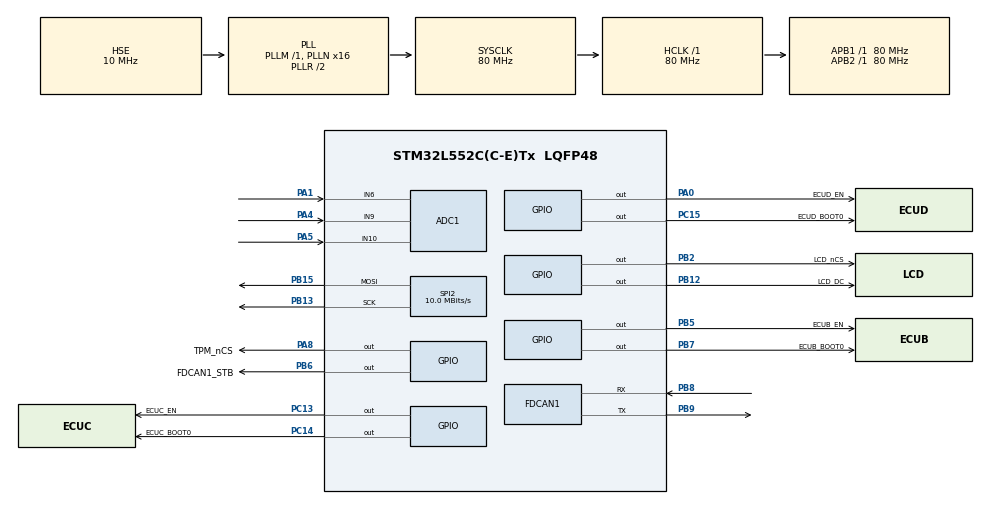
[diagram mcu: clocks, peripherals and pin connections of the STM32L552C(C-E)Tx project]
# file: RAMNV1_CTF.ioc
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ADC1.Channel-0\#ChannelRegularConversion=ADC_CHANNEL_6
ADC1.Channel-1\#ChannelRegularConversion=ADC_CHANNEL_9
ADC1.Channel-2\#ChannelRegularConversion=ADC_CHANNEL_10
ADC1.ClockPrescaler=ADC_CLOCK_ASYNC_DIV256
ADC1.ContinuousConvMode=ENABLE
ADC1.DMAContinuousRequests=ENABLE
ADC1.NbrOfConversion=3
ADC1.NbrOfConversionFlag=1
ADC1.OffsetNumber-0\#ChannelRegularConversion=ADC_OFFSET_NONE
ADC1.OffsetNumber-1\#ChannelRegularConversion=ADC_OFFSET_NONE
ADC1.OffsetNumber-2\#ChannelRegularConversion=ADC_OFFSET_NONE
ADC1.Overrun=ADC_OVR_DATA_OVERWRITTEN
ADC1.Rank-0\#ChannelRegularConversion=1
ADC1.Rank-1\#ChannelRegularConversion=2
ADC1.Rank-2\#ChannelRegularConversion=3
ADC1.SamplingTime-0\#ChannelRegularConversion=ADC_SAMPLETIME_2CYCLES_5
ADC1.SamplingTime-1\#ChannelRegularConversion=ADC_SAMPLETIME_2CYCLES_5
ADC1.SamplingTime-2\#ChannelRegularConversion=ADC_SAMPLETIME_2CYCLES_5
ADC1.master=1
Dma.ADC1.1.Channel_PRIV_NPRIV=DMA_CHANNEL_NPRIV_DISABLE
Dma.ADC1.1.Direction=DMA_PERIPH_TO_MEMORY
Dma.ADC1.1.EventEnable=DISABLE
Dma.ADC1.1.Instance=DMA2_Channel1
Dma.ADC1.1.MemDataAlignment=DMA_MDATAALIGN_HALFWORD
Dma.ADC1.1.MemInc=DMA_MINC_ENABLE
Dma.ADC1.1.Mode=DMA_CIRCULAR
Dma.ADC1.1.PeriphDataAlignment=DMA_PDATAALIGN_HALFWORD
Dma.ADC1.1.PeriphInc=DMA_PINC_DISABLE
Dma.ADC1.1.Polarity=HAL_DMAMUX_REQ_GEN_RISING
Dma.ADC1.1.Priority=DMA_PRIORITY_LOW
Dma.ADC1.1.RequestNumber=1
Dma.ADC1.1.SignalID=NONE
Dma.ADC1.1.SyncEnable=DISABLE
Dma.ADC1.1.SyncPolarity=HAL_DMAMUX_SYNC_NO_EVENT
Dma.ADC1.1.SyncRequestNumber=1
Dma.ADC1.1.SyncSignalID=NONE
Dma.Request0=SPI2_TX
Dma.Request1=ADC1
Dma.SPI2_TX.0.Channel_PRIV_NPRIV=DMA_CHANNEL_NPRIV_DISABLE
Dma.SPI2_TX.0.Direction=DMA_MEMORY_TO_PERIPH
Dma.SPI2_TX.0.EventEnable=DISABLE
Dma.SPI2_TX.0.Instance=DMA1_Channel1
Dma.SPI2_TX.0.MemDataAlignment=DMA_MDATAALIGN_BYTE
Dma.SPI2_TX.0.MemInc=DMA_MINC_ENABLE
Dma.SPI2_TX.0.Mode=DMA_NORMAL
Dma.SPI2_TX.0.PeriphDataAlignment=DMA_PDATAALIGN_BYTE
Dma.SPI2_TX.0.PeriphInc=DMA_PINC_DISABLE
Dma.SPI2_TX.0.Polarity=HAL_DMAMUX_REQ_GEN_RISING
Dma.SPI2_TX.0.Priority=DMA_PRIORITY_LOW
Dma.SPI2_TX.0.RequestNumber=1
Dma.SPI2_TX.0.SignalID=NONE
Dma.SPI2_TX.0.SyncEnable=DISABLE
Dma.SPI2_TX.0.SyncPolarity=HAL_DMAMUX_SYNC_NO_EVENT
Dma.SPI2_TX.0.SyncRequestNumber=1
Dma.SPI2_TX.0.SyncSignalID=NONE
FDCAN1.AutoRetransmission=ENABLE
FDCAN1.CalculateBaudRateNominal=500000
FDCAN1.CalculateTimeBitNominal=2000
FDCAN1.CalculateTimeQuantumNominal=25.0
FDCAN1.ClockDivider=FDCAN_CLOCK_DIV1
FDCAN1.DataPrescaler=1
FDCAN1.DataSyncJumpWidth=1
FDCAN1.DataTimeSeg1=15
FDCAN1.DataTimeSeg2=2
FDCAN1.ExtFiltersNbr=1
FDCAN1.FrameFormat=FDCAN_FRAME_FD_BRS
FDCAN1.NominalPrescaler=1
FDCAN1.NominalSyncJumpWidth=1
FDCAN1.NominalTimeSeg1=60
FDCAN1.NominalTimeSeg2=19
FDCAN1.StdFiltersNbr=1
FDCAN1.TxFifoQueueMode=FDCAN_TX_FIFO_OPERATION
FREERTOS.Tasks01=RAMN_ReceiveCAN,24,128,RAMN_ReceiveCANFunc,Default,NULL,Static,RAMN_ReceiveCANFuncBuffer,RAMN_ReceiveCANFuncControlBlock;RAMN_SendCAN,40,128,RAMN_SendCANFunc,Default,NULL,Static,RAMN_SendCANBuffer,RAMN_SendCANControlBlock;RAMN_Periodic,32,128,RAMN_PeriodicTaskFunc,Default,NULL,Static,RAMN_PeriodicBuffer,RAMN_PeriodicControlBlock;RAMN_ErrorTask,49,128,RAMN_ErrorTaskFunc,Default,NULL,Static,RAMN_ErrorTaskBuffer,RAMN_ErrorTaskControlBlock;RAMN_DiagRX,16,128,RAMN_DiagRXFunc,Default,NULL,Static,RAMN_DiagRXBuffer,RAMN_DiagRXControlBlock;RAMN_DiagTX,15,128,RAMN_DiagTXFunc,Default,NULL,Static,RAMN_DiagTXBuffer,RAMN_DiagTXControlBlock
FREERTOS.configCHECK_FOR_STACK_OVERFLOW=2
FREERTOS.configENABLE_FPU=1
FREERTOS.configGENERATE_RUN_TIME_STATS=0
FREERTOS.configMINIMAL_STACK_SIZE=128
FREERTOS.configRECORD_STACK_HIGH_ADDRESS=0
FREERTOS.configTOTAL_HEAP_SIZE=1024
FREERTOS.configUSE_NEWLIB_REENTRANT=1
FREERTOS.configUSE_STATS_FORMATTING_FUNCTIONS=0
FREERTOS.configUSE_TRACE_FACILITY=1
IWDG.Prescaler=IWDG_PRESCALER_32
IWDG.Reload=1000
IWDG.Window=4095
Mcu.Family=STM32L5
Mcu.Name=STM32L552C(C-E)Tx
Mcu.Package=LQFP48
NVIC.DMA1_Channel1_IRQn=true\:5\:0\:false\:false\:true\:true\:false\:true\:true
NVIC.DMA2_Channel1_IRQn=true\:5\:0\:false\:false\:true\:false\:false\:true\:true
NVIC.FDCAN1_IT0_IRQn=true\:5\:0\:false\:false\:true\:true\:true\:true\:true
NVIC.FDCAN1_IT1_IRQn=true\:5\:0\:false\:false\:true\:true\:true\:true\:true
NVIC.PriorityGroup=NVIC_PRIORITYGROUP_3
NVIC.RNG_IRQn=true\:5\:0\:false\:false\:true\:true\:true\:true\:true
NVIC.SPI2_IRQn=true\:5\:0\:false\:false\:true\:true\:true\:true\:true
NVIC.TIM1_UP_IRQn=true\:0\:0\:false\:false\:true\:false\:false\:true\:true
NVIC.TimeBase=TIM1_UP_IRQn
NVIC.TimeBaseIP=TIM1
PA0.GPIO_Label=ECUD_EN
PA0.Signal=GPIO_Output
PA1.Signal=ADCx_IN6
PA11.Signal=USB_DM
PA4.Signal=ADCx_IN9
PA5.Signal=ADCx_IN10
PA8.GPIO_Label=TPM_nCS
PA8.Signal=GPIO_Output
PB12.GPIO_Label=LCD_DC
PB12.Signal=GPIO_Output
PB13.Mode=TX_Only_Simplex_Unidirect_Master
PB13.Signal=SPI2_SCK
PB14.Signal=SPI2_MISO
PB15.Mode=TX_Only_Simplex_Unidirect_Master
PB15.Signal=SPI2_MOSI
PB2.GPIO_Label=LCD_nCS
PB2.Signal=GPIO_Output
PB5.GPIO_Label=ECUB_EN
PB5.Signal=GPIO_Output
PB6.GPIO_Label=FDCAN1_STB
PB6.Signal=GPIO_Output
PB7.GPIO_Label=ECUB_BOOT0
PB7.Signal=GPIO_Output
PB8.Mode=FDCAN_Activate
PB8.Signal=FDCAN1_RX
PB9.Mode=FDCAN_Activate
PB9.Signal=FDCAN1_TX
PC13.GPIO_Label=ECUC_EN
PC13.Signal=GPIO_Output
PC14-OSC32_IN\ (PC14).GPIO_Label=ECUC_BOOT0
PC14-OSC32_IN\ (PC14).Signal=GPIO_Output
PC15-OSC32_OUT\ (PC15).GPIO_Label=ECUD_BOOT0
PC15-OSC32_OUT\ (PC15).Signal=GPIO_Output
PH0-OSC_IN\ (PH0).Mode=HSE-External-Oscillator
PH0-OSC_IN\ (PH0).Signal=RCC_OSC_IN
PH1-OSC_OUT\ (PH1).Mode=HSE-External-Oscillator
PH1-OSC_OUT\ (PH1).Signal=RCC_OSC_OUT
ProjectManager.HeapSize=0x2000
ProjectManager.StackSize=0x4000
ProjectManager.TargetToolchain=STM32CubeIDE
RCC.ADCFreq_Value=35000000
RCC.AHBFreq_Value=80000000
RCC.APB1Freq_Value=80000000
RCC.APB1TimFreq_Value=80000000
RCC.APB2Freq_Value=80000000
RCC.APB2TimFreq_Value=80000000
RCC.CK48CLockSelection=RCC_USBCLKSOURCE_HSI48
RCC.CortexFreq_Value=80000000
RCC.FDCANClockSelection=RCC_FDCANCLKSOURCE_PLLSAI1
RCC.HCLKFreq_Value=80000000
RCC.HSE_VALUE=10000000
RCC.HSI48_VALUE=48000000
RCC.HSICalibrationValue=64
RCC.HSI_VALUE=16000000
RCC.LSE_VALUE=32768
RCC.MSICalibrationValue=16
RCC.MSI_VALUE=4000000
RCC.PLLN=16
RCC.PLLQ=RCC_PLLQ_DIV8
RCC.PLLSAI1M=2
RCC.PLLSAI1N=56
RCC.PLLSAI1R=RCC_PLLR_DIV8
RCC.PLLSAI1Source=RCC_PLLSAI1SOURCE_HSE
RCC.PLLSourceVirtual=RCC_PLLSOURCE_HSE
RCC.SYSCLKFreq_VALUE=80000000
RCC.SYSCLKSource=RCC_SYSCLKSOURCE_PLLCLK
RCC.USBFreq_Value=48000000
RCC.VCOOutputFreq_Value=160000000
SH.ADCx_IN10.0=ADC1_IN10,IN10-Single-Ended
SH.ADCx_IN6.0=ADC1_IN6,IN6-Single-Ended
SH.ADCx_IN9.0=ADC1_IN9,IN9-Single-Ended
SPI2.BaudRatePrescaler=SPI_BAUDRATEPRESCALER_8
SPI2.CalculateBaudRate=10.0 MBits/s
SPI2.DataSize=SPI_DATASIZE_8BIT
SPI2.Direction=SPI_DIRECTION_2LINES
SPI2.Mode=SPI_MODE_MASTER
SPI2.VirtualType=VM_MASTER
VP_CRC_VS_CRC.Mode=CRC_Activate
VP_FREERTOS_VS_CMSIS_V2.Mode=CMSIS_V2
VP_ICACHE_VS_ICACHE.Mode=DirectMappedCache
VP_IWDG_VS_IWDG.Mode=IWDG_Activate
VP_PWR_VS_DBSignals.Mode=DisableDeadBatterySignals
VP_PWR_VS_SECSignals.Mode=Security/Privilege
VP_RNG_VS_RNG.Mode=RNG_Activate
VP_SYS_VS_tim1.Mode=TIM1
board=custom

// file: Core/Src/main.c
/* USER CODE BEGIN Header */
/**
 ******************************************************************************
 * @file           : main.c
 * @brief          : Main program body
 ******************************************************************************
 * @attention
 *
 * <h2><center>&copy; Copyright (c) 2021 STMicroelectronics.
 * All rights reserved.</center></h2>
 * <h2><center>&copy; Copyright (c) 2022 TOYOTA MOTOR CORPORATION.
 * ALL RIGHTS RESERVED.</center></h2>
 *
 *
 * This software component is licensed by ST under BSD 3-Clause license,
 * the "License"; You may not use this file except in compliance with the
 * License. You may obtain a copy of the License at:
 *                        opensource.org/licenses/BSD-3-Clause
 *
 ******************************************************************************
 */
/* USER CODE END Header */
#include "main.h"
#include "cmsis_os.h"

/* USER CODE BEGIN Includes */
#include "queue.h"
#include "stm32l5xx_hal_rng.h" // contains RNG peripheral error codes
#include "ramn_debug.h"
#include "ramn_usb.h"
#include "ramn_spi.h"
#include "ramn_canfd.h"
#include "ramn_trng.h"
#include "ramn_ecucontrol.h"
#include "ramn_dbc.h"
#include "ramn_simulator.h"
#include "ramn_sensors.h"
#include "ramn_actuators.h"
#include "ramn_crc.h"
#if defined(ENABLE_DIAG)
#include "ramn_diag.h"
#endif
/* USER CODE END Includes */

typedef StaticTask_t osStaticThreadDef_t;

ADC_HandleTypeDef hadc1;
DMA_HandleTypeDef hdma_adc1;

CRC_HandleTypeDef hcrc;

FDCAN_HandleTypeDef hfdcan1;

IWDG_HandleTypeDef hiwdg;

RNG_HandleTypeDef hrng;

SPI_HandleTypeDef hspi2;
DMA_HandleTypeDef hdma_spi2_tx;

/* Definitions for RAMN_ReceiveCAN */
osThreadId_t RAMN_ReceiveCANHandle;
uint32_t RAMN_ReceiveCANFuncBuffer[ 128 ];
osStaticThreadDef_t RAMN_ReceiveCANFuncControlBlock;
const osThreadAttr_t RAMN_ReceiveCAN_attributes = {
  .name = "RAMN_ReceiveCAN",
  .stack_mem = &RAMN_ReceiveCANFuncBuffer[0],
  .stack_size = sizeof(RAMN_ReceiveCANFuncBuffer),
  .cb_mem = &RAMN_ReceiveCANFuncControlBlock,
  .cb_size = sizeof(RAMN_ReceiveCANFuncControlBlock),
  .priority = (osPriority_t) osPriorityNormal,
};
/* Definitions for RAMN_SendCAN */
osThreadId_t RAMN_SendCANHandle;
uint32_t RAMN_SendCANBuffer[ 128 ];
osStaticThreadDef_t RAMN_SendCANControlBlock;
const osThreadAttr_t RAMN_SendCAN_attributes = {
  .name = "RAMN_SendCAN",
  .stack_mem = &RAMN_SendCANBuffer[0],
  .stack_size = sizeof(RAMN_SendCANBuffer),
  .cb_mem = &RAMN_SendCANControlBlock,
  .cb_size = sizeof(RAMN_SendCANControlBlock),
  .priority = (osPriority_t) osPriorityHigh,
};
/* Definitions for RAMN_Periodic */
osThreadId_t RAMN_PeriodicHandle;
uint32_t RAMN_PeriodicBuffer[ 128 ];
osStaticThreadDef_t RAMN_PeriodicControlBlock;
const osThreadAttr_t RAMN_Periodic_attributes = {
  .name = "RAMN_Periodic",
  .stack_mem = &RAMN_PeriodicBuffer[0],
  .stack_size = sizeof(RAMN_PeriodicBuffer),
  .cb_mem = &RAMN_PeriodicControlBlock,
  .cb_size = sizeof(RAMN_PeriodicControlBlock),
  .priority = (osPriority_t) osPriorityAboveNormal,
};
/* Definitions for RAMN_ErrorTask */
osThreadId_t RAMN_ErrorTaskHandle;
uint32_t RAMN_ErrorTaskBuffer[ 128 ];
osStaticThreadDef_t RAMN_ErrorTaskControlBlock;
const osThreadAttr_t RAMN_ErrorTask_attributes = {
  .name = "RAMN_ErrorTask",
  .stack_mem = &RAMN_ErrorTaskBuffer[0],
  .stack_size = sizeof(RAMN_ErrorTaskBuffer),
  .cb_mem = &RAMN_ErrorTaskControlBlock,
  .cb_size = sizeof(RAMN_ErrorTaskControlBlock),
  .priority = (osPriority_t) osPriorityRealtime1,
};
/* Definitions for RAMN_DiagRX */
osThreadId_t RAMN_DiagRXHandle;
uint32_t RAMN_DiagRXBuffer[ 128 ];
osStaticThreadDef_t RAMN_DiagRXControlBlock;
const osThreadAttr_t RAMN_DiagRX_attributes = {
  .name = "RAMN_DiagRX",
  .stack_mem = &RAMN_DiagRXBuffer[0],
  .stack_size = sizeof(RAMN_DiagRXBuffer),
  .cb_mem = &RAMN_DiagRXControlBlock,
  .cb_size = sizeof(RAMN_DiagRXControlBlock),
  .priority = (osPriority_t) osPriorityBelowNormal,
};
/* Definitions for RAMN_DiagTX */
osThreadId_t RAMN_DiagTXHandle;
uint32_t RAMN_DiagTXBuffer[ 128 ];
osStaticThreadDef_t RAMN_DiagTXControlBlock;
const osThreadAttr_t RAMN_DiagTX_attributes = {
  .name = "RAMN_DiagTX",
  .stack_mem = &RAMN_DiagTXBuffer[0],
  .stack_size = sizeof(RAMN_DiagTXBuffer),
  .cb_mem = &RAMN_DiagTXControlBlock,
  .cb_size = sizeof(RAMN_DiagTXControlBlock),
  .priority = (osPriority_t) osPriorityLow7,
};
/* USER CODE BEGIN PV */

#if defined(ENABLE_DIAG)
//Holds currently processed Diag Command from CAN
uint8_t diagRxbuf[0xFFF+2];
//Holds currently generated Diag Command Answer for CAN
uint8_t diagTxbuf[0xFFF] __attribute__ ((section (".buffers")));
#endif

//Buffers for UDS commands, only allocated if enabled
#if defined(ENABLE_UDS)
static StaticStreamBuffer_t UDS_ISOTP_RX_BUFFER_STRUCT;
static uint8_t UDS_ISOTP_RX_BUFFER[UDS_ISOTP_RX_BUFFER_SIZE];
static StaticStreamBuffer_t UDS_ISOTP_TX_BUFFER_STRUCT;
static uint8_t UDS_ISOTP_TX_BUFFER[UDS_ISOTP_RX_BUFFER_SIZE];
#endif

//Buffers for KWP commands, only allocated if enabled
#if defined(ENABLE_KWP)
static StaticStreamBuffer_t KWP_ISOTP_RX_BUFFER_STRUCT;
static uint8_t KWP_ISOTP_RX_BUFFER[KWP_ISOTP_RX_BUFFER_SIZE];
static StaticStreamBuffer_t KWP_ISOTP_TX_BUFFER_STRUCT;
static uint8_t KWP_ISOTP_TX_BUFFER[KWP_ISOTP_RX_BUFFER_SIZE];
#endif

//Buffers for XCP commands, only allocated if enabled
#if defined(ENABLE_XCP)
static StaticStreamBuffer_t XCP_RX_BUFFER_STRUCT;
static uint8_t XCP_RX_BUFFER[XCP_RX_BUFFER_SIZE];
static StaticStreamBuffer_t XCP_TX_BUFFER_STRUCT;
static uint8_t XCP_TX_BUFFER[XCP_RX_BUFFER_SIZE];
#endif

//Buffers for CAN Messages
static StaticStreamBuffer_t CAN_RX_BUFFER_STRUCT;
static uint8_t CAN_RX_BUFFER[CAN_RX_BUFFER_SIZE];
static StaticStreamBuffer_t CAN_TX_BUFFER_STRUCT;
static uint8_t CAN_TX_BUFFER[CAN_TX_BUFFER_SIZE];

//Buffers for Diag Messages, even unallocated one
StreamBufferHandle_t UdsRxDataStreamBufferHandle;
StreamBufferHandle_t UdsTxDataStreamBufferHandle;

StreamBufferHandle_t KwpRxDataStreamBufferHandle;
StreamBufferHandle_t KwpTxDataStreamBufferHandle;

StreamBufferHandle_t XcpRxDataStreamBufferHandle;
StreamBufferHandle_t XcpTxDataStreamBufferHandle;

/* USER CODE END PV */

void SystemClock_Config(void);
void PeriphCommonClock_Config(void);
static void MX_GPIO_Init(void);
static void MX_DMA_Init(void);
static void MX_ICACHE_Init(void);
static void MX_RNG_Init(void);
static void MX_FDCAN1_Init(void);
static void MX_SPI2_Init(void);
static void MX_ADC1_Init(void);
static void MX_IWDG_Init(void);
static void MX_CRC_Init(void);
void RAMN_ReceiveCANFunc(void *argument);
void RAMN_SendCANFunc(void *argument);
void RAMN_PeriodicTaskFunc(void *argument);
void RAMN_ErrorTaskFunc(void *argument);
void RAMN_DiagRXFunc(void *argument);
void RAMN_DiagTXFunc(void *argument);

/* USER CODE BEGIN 0 */

#if defined(GENERATE_RUNTIME_STATS)
volatile unsigned long ulHighFrequencyTimerTicks;

void configureTimerForRunTimeStats(void) {
	ulHighFrequencyTimerTicks = 0;
	HAL_TIM_Base_Start_IT(&htim3);
}

unsigned long getRunTimeCounterValue(void) {
	return ulHighFrequencyTimerTicks;
}
#endif
/* USER CODE END 0 */

int main(void)
{
  /* USER CODE BEGIN 1 */

	// Ensure proper configuration of VTOR or program does not work correctly after live booting from DFU bootloader
	__disable_irq();
	SCB->VTOR = FLASH_BASE_NS;
	__DSB();
	__enable_irq();
  /* USER CODE END 1 */

  /* MCU Configuration--------------------------------------------------------*/

  /* Reset of all peripherals, Initializes the Flash interface and the Systick. */
  HAL_Init();

  /* Configure the system clock */
  SystemClock_Config();

/* Configure the peripherals common clocks */
  PeriphCommonClock_Config();

  /* Initialize all configured peripherals */
  MX_GPIO_Init();
  MX_DMA_Init();
  MX_ICACHE_Init();
  MX_RNG_Init();
  MX_FDCAN1_Init();
  MX_SPI2_Init();
  MX_ADC1_Init();
  MX_IWDG_Init();
  MX_CRC_Init();
  /* USER CODE BEGIN 2 */

	//Assign the Stream buffer used by the USB receive callback function

#if defined(ENABLE_UDS)
	UdsRxDataStreamBufferHandle = xStreamBufferCreateStatic(UDS_ISOTP_RX_BUFFER_SIZE,sizeof(uint8_t),UDS_ISOTP_RX_BUFFER,&UDS_ISOTP_RX_BUFFER_STRUCT);
	UdsTxDataStreamBufferHandle = xStreamBufferCreateStatic(UDS_ISOTP_TX_BUFFER_SIZE,sizeof(uint8_t),UDS_ISOTP_TX_BUFFER,&UDS_ISOTP_TX_BUFFER_STRUCT);
#endif
#if defined(ENABLE_KWP)
	KwpRxDataStreamBufferHandle = xStreamBufferCreateStatic(KWP_ISOTP_RX_BUFFER_SIZE,sizeof(uint8_t),KWP_ISOTP_RX_BUFFER,&KWP_ISOTP_RX_BUFFER_STRUCT);
	KwpTxDataStreamBufferHandle = xStreamBufferCreateStatic(KWP_ISOTP_TX_BUFFER_SIZE,sizeof(uint8_t),KWP_ISOTP_TX_BUFFER,&KWP_ISOTP_TX_BUFFER_STRUCT);
#endif
#if defined(ENABLE_XCP)
	XcpRxDataStreamBufferHandle = xStreamBufferCreateStatic(XCP_RX_BUFFER_SIZE,sizeof(uint8_t),XCP_RX_BUFFER,&XCP_RX_BUFFER_STRUCT);
	XcpTxDataStreamBufferHandle = xStreamBufferCreateStatic(XCP_TX_BUFFER_SIZE,sizeof(uint8_t),XCP_TX_BUFFER,&XCP_TX_BUFFER_STRUCT);
#endif

	CANRxDataStreamBufferHandle = xStreamBufferCreateStatic(CAN_RX_BUFFER_SIZE,sizeof(uint8_t),CAN_RX_BUFFER,&CAN_RX_BUFFER_STRUCT);
	CANTxDataStreamBufferHandle = xStreamBufferCreateStatic(CAN_TX_BUFFER_SIZE,sizeof(uint8_t),CAN_TX_BUFFER,&CAN_TX_BUFFER_STRUCT);

#if defined(ENABLE_SCREEN) || defined(EXPANSION_BODY)
	RAMN_SPI_Init(&hspi2, &RAMN_PeriodicHandle);
#endif

#if defined(ENABLE_EEPROM_EMULATION)
	RAMN_EEPROM_Init();
#endif

#if defined(ENABLE_DIAG)
	RAMN_DIAG_Init(xTaskGetTickCount(),&RAMN_DiagRXHandle, &UdsRxDataStreamBufferHandle, &KwpRxDataStreamBufferHandle, &XcpRxDataStreamBufferHandle);
#endif

	RAMN_RNG_Init(&hrng);
	RAMN_CRC_Init(&hcrc);
	RAMN_FDCAN_Init(&hfdcan1,&RAMN_SendCANHandle,&RAMN_ErrorTaskHandle);

	//Fill Random numbers pool
	if (HAL_RNG_GenerateRandomNumber_IT(&hrng) != HAL_OK) Error_Handler();

  /* USER CODE END 2 */

  /* Init scheduler */
  osKernelInitialize();

  /* Create the thread(s) */
  /* creation of RAMN_ReceiveCAN */
  RAMN_ReceiveCANHandle = osThreadNew(RAMN_ReceiveCANFunc, NULL, &RAMN_ReceiveCAN_attributes);

  /* creation of RAMN_SendCAN */
  RAMN_SendCANHandle = osThreadNew(RAMN_SendCANFunc, NULL, &RAMN_SendCAN_attributes);

  /* creation of RAMN_Periodic */
  RAMN_PeriodicHandle = osThreadNew(RAMN_PeriodicTaskFunc, NULL, &RAMN_Periodic_attributes);

  /* creation of RAMN_ErrorTask */
  RAMN_ErrorTaskHandle = osThreadNew(RAMN_ErrorTaskFunc, NULL, &RAMN_ErrorTask_attributes);

  /* creation of RAMN_DiagRX */
  RAMN_DiagRXHandle = osThreadNew(RAMN_DiagRXFunc, NULL, &RAMN_DiagRX_attributes);

  /* creation of RAMN_DiagTX */
  RAMN_DiagTXHandle = osThreadNew(RAMN_DiagTXFunc, NULL, &RAMN_DiagTX_attributes);

  /* Start scheduler */
  osKernelStart();

  /* We should never get here as control is now taken by the scheduler */
  /* Infinite loop */
	while (1)
	{

	}
}

void SystemClock_Config(void)
{
  RCC_OscInitTypeDef RCC_OscInitStruct = {0};
  RCC_ClkInitTypeDef RCC_ClkInitStruct = {0};

  /** Configure the main internal regulator output voltage
  */
  if (HAL_PWREx_ControlVoltageScaling(PWR_REGULATOR_VOLTAGE_SCALE1) != HAL_OK)
  {
    Error_Handler();
  }

  /** Initializes the RCC Oscillators according to the specified parameters
  * in the RCC_OscInitTypeDef structure.
  */
  RCC_OscInitStruct.OscillatorType = RCC_OSCILLATORTYPE_HSI48|RCC_OSCILLATORTYPE_LSI
                              |RCC_OSCILLATORTYPE_HSE;
  RCC_OscInitStruct.HSEState = RCC_HSE_ON;
  RCC_OscInitStruct.HSI48State = RCC_HSI48_ON;
  RCC_OscInitStruct.LSIDiv = RCC_LSI_DIV1;
  RCC_OscInitStruct.LSIState = RCC_LSI_ON;
  RCC_OscInitStruct.PLL.PLLState = RCC_PLL_ON;
  RCC_OscInitStruct.PLL.PLLSource = RCC_PLLSOURCE_HSE;
  RCC_OscInitStruct.PLL.PLLM = 1;
  RCC_OscInitStruct.PLL.PLLN = 16;
  RCC_OscInitStruct.PLL.PLLP = RCC_PLLP_DIV7;
  RCC_OscInitStruct.PLL.PLLQ = RCC_PLLQ_DIV8;
  RCC_OscInitStruct.PLL.PLLR = RCC_PLLR_DIV2;
  if (HAL_RCC_OscConfig(&RCC_OscInitStruct) != HAL_OK)
  {
    Error_Handler();
  }

  /** Initializes the CPU, AHB and APB buses clocks
  */
  RCC_ClkInitStruct.ClockType = RCC_CLOCKTYPE_HCLK|RCC_CLOCKTYPE_SYSCLK
                              |RCC_CLOCKTYPE_PCLK1|RCC_CLOCKTYPE_PCLK2;
  RCC_ClkInitStruct.SYSCLKSource = RCC_SYSCLKSOURCE_PLLCLK;
  RCC_ClkInitStruct.AHBCLKDivider = RCC_SYSCLK_DIV1;
  RCC_ClkInitStruct.APB1CLKDivider = RCC_HCLK_DIV1;
  RCC_ClkInitStruct.APB2CLKDivider = RCC_HCLK_DIV1;

  if (HAL_RCC_ClockConfig(&RCC_ClkInitStruct, FLASH_LATENCY_3) != HAL_OK)
  {
    Error_Handler();
  }
}

void PeriphCommonClock_Config(void)
{
  RCC_PeriphCLKInitTypeDef PeriphClkInit = {0};

  /** Initializes the common periph clock
  */
  PeriphClkInit.PeriphClockSelection = RCC_PERIPHCLK_ADC|RCC_PERIPHCLK_FDCAN;
  PeriphClkInit.FdcanClockSelection = RCC_FDCANCLKSOURCE_PLLSAI1;
  PeriphClkInit.AdcClockSelection = RCC_ADCCLKSOURCE_PLLSAI1;
  PeriphClkInit.PLLSAI1.PLLSAI1Source = RCC_PLLSAI1SOURCE_HSE;
  PeriphClkInit.PLLSAI1.PLLSAI1M = 2;
  PeriphClkInit.PLLSAI1.PLLSAI1N = 56;
  PeriphClkInit.PLLSAI1.PLLSAI1P = RCC_PLLP_DIV7;
  PeriphClkInit.PLLSAI1.PLLSAI1Q = RCC_PLLQ_DIV2;
  PeriphClkInit.PLLSAI1.PLLSAI1R = RCC_PLLR_DIV8;
  PeriphClkInit.PLLSAI1.PLLSAI1ClockOut = RCC_PLLSAI1_SAI1CLK|RCC_PLLSAI1_ADC1CLK;
  if (HAL_RCCEx_PeriphCLKConfig(&PeriphClkInit) != HAL_OK)
  {
    Error_Handler();
  }
}

static void MX_ADC1_Init(void)
{

  /* USER CODE BEGIN ADC1_Init 0 */
#if defined(EXPANSION_CHASSIS) || defined(EXPANSION_POWERTRAIN) || defined(EXPANSION_BODY)
  /* USER CODE END ADC1_Init 0 */

  ADC_MultiModeTypeDef multimode = {0};
  ADC_ChannelConfTypeDef sConfig = {0};

  /** Common config
  */
  hadc1.Instance = ADC1;
  hadc1.Init.ClockPrescaler = ADC_CLOCK_ASYNC_DIV256;
  hadc1.Init.Resolution = ADC_RESOLUTION_12B;
  hadc1.Init.DataAlign = ADC_DATAALIGN_RIGHT;
  hadc1.Init.ScanConvMode = ADC_SCAN_ENABLE;
  hadc1.Init.EOCSelection = ADC_EOC_SINGLE_CONV;
  hadc1.Init.LowPowerAutoWait = DISABLE;
  hadc1.Init.ContinuousConvMode = ENABLE;
  hadc1.Init.NbrOfConversion = 3;
  hadc1.Init.DiscontinuousConvMode = DISABLE;
  hadc1.Init.ExternalTrigConv = ADC_SOFTWARE_START;
  hadc1.Init.ExternalTrigConvEdge = ADC_EXTERNALTRIGCONVEDGE_NONE;
  hadc1.Init.DMAContinuousRequests = ENABLE;
  hadc1.Init.Overrun = ADC_OVR_DATA_OVERWRITTEN;
  hadc1.Init.OversamplingMode = DISABLE;
  if (HAL_ADC_Init(&hadc1) != HAL_OK)
  {
    Error_Handler();
  }

  /** Configure the ADC multi-mode
  */
  multimode.Mode = ADC_MODE_INDEPENDENT;
  if (HAL_ADCEx_MultiModeConfigChannel(&hadc1, &multimode) != HAL_OK)
  {
    Error_Handler();
  }

  /** Configure Regular Channel
  */
  sConfig.Channel = ADC_CHANNEL_6;
  sConfig.Rank = ADC_REGULAR_RANK_1;
  sConfig.SamplingTime = ADC_SAMPLETIME_2CYCLES_5;
  sConfig.SingleDiff = ADC_SINGLE_ENDED;
  sConfig.OffsetNumber = ADC_OFFSET_NONE;
  sConfig.Offset = 0;
  if (HAL_ADC_ConfigChannel(&hadc1, &sConfig) != HAL_OK)
  {
    Error_Handler();
  }

  /** Configure Regular Channel
  */
  sConfig.Channel = ADC_CHANNEL_9;
  sConfig.Rank = ADC_REGULAR_RANK_2;
  if (HAL_ADC_ConfigChannel(&hadc1, &sConfig) != HAL_OK)
  {
    Error_Handler();
  }

  /** Configure Regular Channel
  */
  sConfig.Channel = ADC_CHANNEL_10;
  sConfig.Rank = ADC_REGULAR_RANK_3;
  if (HAL_ADC_ConfigChannel(&hadc1, &sConfig) != HAL_OK)
  {
    Error_Handler();
  }
  /* USER CODE BEGIN ADC1_Init 2 */
#endif
  /* USER CODE END ADC1_Init 2 */

}

static void MX_CRC_Init(void)
{

  hcrc.Instance = CRC;
  hcrc.Init.DefaultPolynomialUse = DEFAULT_POLYNOMIAL_ENABLE;
  hcrc.Init.DefaultInitValueUse = DEFAULT_INIT_VALUE_ENABLE;
  hcrc.Init.InputDataInversionMode = CRC_INPUTDATA_INVERSION_NONE;
  hcrc.Init.OutputDataInversionMode = CRC_OUTPUTDATA_INVERSION_DISABLE;
  hcrc.InputDataFormat = CRC_INPUTDATA_FORMAT_BYTES;
  if (HAL_CRC_Init(&hcrc) != HAL_OK)
  {
    Error_Handler();
  }

}

static void MX_FDCAN1_Init(void)
{

  hfdcan1.Instance = FDCAN1;
  hfdcan1.Init.ClockDivider = FDCAN_CLOCK_DIV1;
  hfdcan1.Init.FrameFormat = FDCAN_FRAME_FD_BRS;
  hfdcan1.Init.Mode = FDCAN_MODE_NORMAL;
  hfdcan1.Init.AutoRetransmission = ENABLE;
  hfdcan1.Init.TransmitPause = DISABLE;
  hfdcan1.Init.ProtocolException = DISABLE;
  hfdcan1.Init.NominalPrescaler = 1;
  hfdcan1.Init.NominalSyncJumpWidth = 1;
  hfdcan1.Init.NominalTimeSeg1 = 60;
  hfdcan1.Init.NominalTimeSeg2 = 19;
  hfdcan1.Init.DataPrescaler = 1;
  hfdcan1.Init.DataSyncJumpWidth = 1;
  hfdcan1.Init.DataTimeSeg1 = 15;
  hfdcan1.Init.DataTimeSeg2 = 2;
  hfdcan1.Init.StdFiltersNbr = 1;
  hfdcan1.Init.ExtFiltersNbr = 1;
  hfdcan1.Init.TxFifoQueueMode = FDCAN_TX_FIFO_OPERATION;
  if (HAL_FDCAN_Init(&hfdcan1) != HAL_OK)
  {
    Error_Handler();
  }

}

static void MX_ICACHE_Init(void)
{

  /** Enable instruction cache in 1-way (direct mapped cache)
  */
  if (HAL_ICACHE_ConfigAssociativityMode(ICACHE_1WAY) != HAL_OK)
  {
    Error_Handler();
  }
  if (HAL_ICACHE_Enable() != HAL_OK)
  {
    Error_Handler();
  }

}

static void MX_IWDG_Init(void)
{

  /* USER CODE BEGIN IWDG_Init 0 */
#ifdef WATCHDOG_ENABLE
  /* USER CODE END IWDG_Init 0 */

  hiwdg.Instance = IWDG;
  hiwdg.Init.Prescaler = IWDG_PRESCALER_32;
  hiwdg.Init.Window = 4095;
  hiwdg.Init.Reload = 1000;
  if (HAL_IWDG_Init(&hiwdg) != HAL_OK)
  {
    Error_Handler();
  }
  /* USER CODE BEGIN IWDG_Init 2 */
#endif
  /* USER CODE END IWDG_Init 2 */

}

static void MX_RNG_Init(void)
{

  hrng.Instance = RNG;
  hrng.Init.ClockErrorDetection = RNG_CED_ENABLE;
  if (HAL_RNG_Init(&hrng) != HAL_OK)
  {
    Error_Handler();
  }

}

static void MX_SPI2_Init(void)
{

  /* SPI2 parameter configuration*/
  hspi2.Instance = SPI2;
  hspi2.Init.Mode = SPI_MODE_MASTER;
  hspi2.Init.Direction = SPI_DIRECTION_2LINES;
  hspi2.Init.DataSize = SPI_DATASIZE_8BIT;
  hspi2.Init.CLKPolarity = SPI_POLARITY_LOW;
  hspi2.Init.CLKPhase = SPI_PHASE_1EDGE;
  hspi2.Init.NSS = SPI_NSS_SOFT;
  hspi2.Init.BaudRatePrescaler = SPI_BAUDRATEPRESCALER_8;
  hspi2.Init.FirstBit = SPI_FIRSTBIT_MSB;
  hspi2.Init.TIMode = SPI_TIMODE_DISABLE;
  hspi2.Init.CRCCalculation = SPI_CRCCALCULATION_DISABLE;
  hspi2.Init.CRCPolynomial = 7;
  hspi2.Init.CRCLength = SPI_CRC_LENGTH_DATASIZE;
  hspi2.Init.NSSPMode = SPI_NSS_PULSE_ENABLE;
  if (HAL_SPI_Init(&hspi2) != HAL_OK)
  {
    Error_Handler();
  }

}

static void MX_DMA_Init(void)
{

  /* DMA controller clock enable */
  __HAL_RCC_DMAMUX1_CLK_ENABLE();
  __HAL_RCC_DMA1_CLK_ENABLE();
  __HAL_RCC_DMA2_CLK_ENABLE();

  /* DMA interrupt init */
  /* DMA1_Channel1_IRQn interrupt configuration */
  HAL_NVIC_SetPriority(DMA1_Channel1_IRQn, 5, 0);
  HAL_NVIC_EnableIRQ(DMA1_Channel1_IRQn);
  /* DMA2_Channel1_IRQn interrupt configuration */
  HAL_NVIC_SetPriority(DMA2_Channel1_IRQn, 5, 0);
  HAL_NVIC_EnableIRQ(DMA2_Channel1_IRQn);

}

static void MX_GPIO_Init(void)
{
  GPIO_InitTypeDef GPIO_InitStruct = {0};

  /* GPIO Ports Clock Enable */
  __HAL_RCC_GPIOC_CLK_ENABLE();
  __HAL_RCC_GPIOH_CLK_ENABLE();
  __HAL_RCC_GPIOA_CLK_ENABLE();
  __HAL_RCC_GPIOB_CLK_ENABLE();

  /*Configure GPIO pin Output Level */
  HAL_GPIO_WritePin(GPIOC, ECUC_EN_Pin|ECUC_BOOT0_Pin|ECUD_BOOT0_Pin, GPIO_PIN_RESET);

  /*Configure GPIO pin Output Level */
  HAL_GPIO_WritePin(GPIOA, ECUD_EN_Pin|TPM_nCS_Pin, GPIO_PIN_RESET);

  /*Configure GPIO pin Output Level */
  HAL_GPIO_WritePin(GPIOB, LCD_nCS_Pin|LCD_DC_Pin|ECUB_EN_Pin|FDCAN1_STB_Pin
                          |ECUB_BOOT0_Pin, GPIO_PIN_RESET);

  /*Configure GPIO pins : ECUC_EN_Pin ECUC_BOOT0_Pin ECUD_BOOT0_Pin */
  GPIO_InitStruct.Pin = ECUC_EN_Pin|ECUC_BOOT0_Pin|ECUD_BOOT0_Pin;
  GPIO_InitStruct.Mode = GPIO_MODE_OUTPUT_PP;
  GPIO_InitStruct.Pull = GPIO_NOPULL;
  GPIO_InitStruct.Speed = GPIO_SPEED_FREQ_LOW;
  HAL_GPIO_Init(GPIOC, &GPIO_InitStruct);

  /*Configure GPIO pins : ECUD_EN_Pin TPM_nCS_Pin */
  GPIO_InitStruct.Pin = ECUD_EN_Pin|TPM_nCS_Pin;
  GPIO_InitStruct.Mode = GPIO_MODE_OUTPUT_PP;
  GPIO_InitStruct.Pull = GPIO_NOPULL;
  GPIO_InitStruct.Speed = GPIO_SPEED_FREQ_LOW;
  HAL_GPIO_Init(GPIOA, &GPIO_InitStruct);

  /*Configure GPIO pins : LCD_nCS_Pin LCD_DC_Pin ECUB_EN_Pin FDCAN1_STB_Pin
                           ECUB_BOOT0_Pin */
  GPIO_InitStruct.Pin = LCD_nCS_Pin|LCD_DC_Pin|ECUB_EN_Pin|FDCAN1_STB_Pin
                          |ECUB_BOOT0_Pin;
  GPIO_InitStruct.Mode = GPIO_MODE_OUTPUT_PP;
  GPIO_InitStruct.Pull = GPIO_NOPULL;
  GPIO_InitStruct.Speed = GPIO_SPEED_FREQ_LOW;
  HAL_GPIO_Init(GPIOB, &GPIO_InitStruct);

  /*Configure GPIO pin : PA11 */
  GPIO_InitStruct.Pin = GPIO_PIN_11;
  GPIO_InitStruct.Mode = GPIO_MODE_AF_PP;
  GPIO_InitStruct.Pull = GPIO_NOPULL;
  GPIO_InitStruct.Speed = GPIO_SPEED_FREQ_LOW;
  GPIO_InitStruct.Alternate = GPIO_AF10_USB;
  HAL_GPIO_Init(GPIOA, &GPIO_InitStruct);

}

void RAMN_ReceiveCANFunc(void *argument)
{
  /* USER CODE BEGIN 5 */

		FDCAN_RxHeaderTypeDef CANRxHeader;
		uint8_t CANRxData[64];

		for(;;)
		{
			if (xStreamBufferReceive(CANRxDataStreamBufferHandle, (void *)&CANRxHeader,sizeof(CANRxHeader), portMAX_DELAY) == sizeof(CANRxHeader))
			{
				uint8_t payloadSize = DLCtoUINT8(CANRxHeader.DataLength);
				if (payloadSize > 0)
				{
					if (xStreamBufferReceive(CANRxDataStreamBufferHandle, (void *) CANRxData,payloadSize, portMAX_DELAY ) != payloadSize) Error_Handler();
				}

				if(CANRxHeader.RxFrameType == FDCAN_DATA_FRAME) {
					RAMN_DBC_ProcessCANMessage(CANRxHeader.Identifier,payloadSize,(RAMN_CANFrameData_t*)CANRxData);
	#if defined(ENABLE_DIAG)
					RAMN_DIAG_ProcessRxCANMessage(&CANRxHeader, CANRxData, xTaskGetTickCount());
	#endif
				}

			}
			else
			{
				Error_Handler();
			}

		}

  /* USER CODE END 5 */
}

void RAMN_SendCANFunc(void *argument)
{
  /* USER CODE BEGIN RAMN_SendCANFunc */
	/* Infinite loop */
	FDCAN_TxHeaderTypeDef CANTxHeader;
	uint8_t CANTxData[64];
	uint8_t payloadSize;
	/* Infinite loop */
	for(;;)
	{
		uint32_t index = 0;
		while(index < sizeof(CANTxHeader))
		{
			index += xStreamBufferReceive(CANTxDataStreamBufferHandle, (void *)(&CANTxHeader+index),sizeof(CANTxHeader)-index, portMAX_DELAY);
		}
		payloadSize = DLCtoUINT8(CANTxHeader.DataLength);
		if (CANTxHeader.TxFrameType == FDCAN_REMOTE_FRAME) payloadSize = 0;  // no payload for remote requests
		if (payloadSize > 0 )
		{
			index = 0;
			while(index < payloadSize) index += xStreamBufferReceive(CANTxDataStreamBufferHandle, (void *)(CANTxData+index),payloadSize-index, portMAX_DELAY);
		}

		// Wait for TX space to be available in FIFO
		while (HAL_FDCAN_GetTxFifoFreeLevel(&hfdcan1) < 1)
		{
			ulTaskNotifyTake( pdTRUE, portMAX_DELAY );
		}

		if (HAL_FDCAN_AddMessageToTxFifoQ(&hfdcan1, &CANTxHeader, CANTxData) != HAL_OK) Error_Handler();
		RAMN_FDCAN_Status.CANTXRequestCnt++;

	}
  /* USER CODE END RAMN_SendCANFunc */
}

void RAMN_PeriodicTaskFunc(void *argument)
{
  /* USER CODE BEGIN RAMN_PeriodicTaskFunc */
	RAMN_DBC_Init();
	RAMN_FDCAN_ResetPeripheral();

#if defined(EXPANSION_CHASSIS) || defined(EXPANSION_POWERTRAIN) || defined(EXPANSION_BODY)
	HAL_ADC_Start_DMA(&hadc1, (uint32_t*)RAMN_SENSORS_ADCValues, 3);
	RAMN_SENSORS_Init();
#endif
	RAMN_ACTUATORS_Init();
	RAMN_SIM_Init();

	/* Infinite loop */
	for(;;)
	{
		TickType_t xLastWakeTime;
		xLastWakeTime = xTaskGetTickCount();
#ifdef WATCHDOG_ENABLE
		if(HAL_IWDG_Refresh(&hiwdg) != HAL_OK) { Error_Handler();  }
#endif
		if (RAMN_DBC_RequestSilence == 0U)
		{
			RAMN_SENSORS_Update(xLastWakeTime);
			RAMN_SIM_UpdatePeriodic(xLastWakeTime);
			RAMN_ACTUATORS_ApplyControls(xLastWakeTime);
			RAMN_DBC_Send(xLastWakeTime);
		}
#ifdef ENABLE_SCREEN
		RAMN_SPI_UpdateScreen(xLastWakeTime);
#endif

#if defined(ENABLE_DIAG)
		RAMN_DIAG_Update(xLastWakeTime);
#endif
		vTaskDelayUntil(&xLastWakeTime, SIM_LOOP_CLOCK_MS);

#if defined (ENABLE_USB) && defined(ENABLE_USB_AUTODETECT)
		if (RAMN_USB_Config.serialOpened == False)
		{
			RAMN_USB_Config.simulatorActive = False;
			RAMN_DBC_RequestSilence = True;
		}
#endif
	}
  /* USER CODE END RAMN_PeriodicTaskFunc */
}

void RAMN_ErrorTaskFunc(void *argument)
{
  /* USER CODE BEGIN RAMN_ErrorTaskFunc */
	/* Infinite loop */

	for(;;)
	{
		ulTaskNotifyTake(pdTRUE, portMAX_DELAY);
		//Read all data in a critical section for consistent readings

		//If a transmission failed, the "transmission complete" notification will not be sent. We may need to wake up the CAN send thread (?) TODO: check
		//Normally, we should only require it if protocolStatus.Activity == FDCAN_COM_STATE_TX, but it is safer to notify the thread whatever the error is.
		/* if (protocolStatus.Activity == FDCAN_COM_STATE_TX) */
		xTaskNotifyGive(RAMN_SendCANHandle);

	}
  /* USER CODE END RAMN_ErrorTaskFunc */
}

void RAMN_DiagRXFunc(void *argument)
{
  /* USER CODE BEGIN RAMN_DiagRXFunc */
	/* Infinite loop */
#if !defined(ENABLE_DIAG)
	vTaskDelete(NULL);
#else
	uint16_t diagRxSize;
	uint16_t index;
	uint16_t diagTxSize;
	size_t xBytesSent;

	for(;;)
	{
#ifdef ENABLE_UDS
		//Check UDS
		if (xStreamBufferBytesAvailable(UdsRxDataStreamBufferHandle) >= sizeof(diagRxSize))
		{
			if (xStreamBufferReceive(UdsRxDataStreamBufferHandle, (void *)&diagRxSize,sizeof(diagRxSize), portMAX_DELAY) == sizeof(diagRxSize))
			{
				if (diagRxSize <= 0xFFF)
				{
					index = 0;
					while (index != diagRxSize)
					{
						index += xStreamBufferReceive(UdsRxDataStreamBufferHandle, (void *)diagRxbuf+index,diagRxSize-index, portMAX_DELAY);
					}

					RAMN_UDS_ProcessDiagPayload(xTaskGetTickCount(), diagRxbuf, diagRxSize, diagTxbuf, &diagTxSize);
					if (diagTxSize > 0U)
					{
						xBytesSent = xStreamBufferSend(UdsTxDataStreamBufferHandle, (void *) &diagTxSize, sizeof(diagTxSize), portMAX_DELAY );
						xBytesSent += xStreamBufferSend(UdsTxDataStreamBufferHandle, (void *) diagTxbuf, diagTxSize, portMAX_DELAY );
						if( xBytesSent != (diagTxSize + sizeof(diagTxSize) )) Error_Handler();
						xTaskNotifyGive(RAMN_DiagTXHandle);
					}
				}
			}
		}
#endif
#ifdef ENABLE_KWP
		//Check KWP
		if (xStreamBufferBytesAvailable(KwpRxDataStreamBufferHandle) >= sizeof(diagRxSize))
		{
			if (xStreamBufferReceive(KwpRxDataStreamBufferHandle, (void *)&diagRxSize,sizeof(diagRxSize), portMAX_DELAY) == sizeof(diagRxSize))
			{
				if (diagRxSize <= 0xFFF)
				{
					index = 0;
					while (index != diagRxSize)
					{
						index += xStreamBufferReceive(KwpRxDataStreamBufferHandle, (void *)diagRxbuf+index,diagRxSize-index, portMAX_DELAY);
					}

					RAMN_KWP_ProcessDiagPayload(xTaskGetTickCount(), diagRxbuf, diagRxSize, diagTxbuf, &diagTxSize);
					if (diagTxSize > 0U)
					{
						xBytesSent = xStreamBufferSend(KwpTxDataStreamBufferHandle, (void *) &diagTxSize, sizeof(diagTxSize), portMAX_DELAY );
						xBytesSent += xStreamBufferSend(KwpTxDataStreamBufferHandle, (void *) diagTxbuf, diagTxSize, portMAX_DELAY );
						if( xBytesSent != (diagTxSize + sizeof(diagTxSize) )) Error_Handler();
						xTaskNotifyGive(RAMN_DiagTXHandle);
					}
				}
			}
		}
#endif
#ifdef ENABLE_XCP
		//Check XCP
		if (xStreamBufferBytesAvailable(XcpRxDataStreamBufferHandle) >= sizeof(diagRxSize))
		{
			if (xStreamBufferReceive(XcpRxDataStreamBufferHandle, (void *)&diagRxSize,sizeof(diagRxSize), portMAX_DELAY) == sizeof(diagRxSize))
			{
				if (diagRxSize <= 0xFFF)
				{
					index = 0;
					while (index != diagRxSize)
					{
						index += xStreamBufferReceive(XcpRxDataStreamBufferHandle, (void *)diagRxbuf+index,diagRxSize-index, portMAX_DELAY);
					}

					RAMN_XCP_ProcessDiagPayload(xTaskGetTickCount(), diagRxbuf, diagRxSize, diagTxbuf, &diagTxSize);
					if (diagTxSize > 0U)
					{
						xBytesSent = xStreamBufferSend(XcpTxDataStreamBufferHandle, (void *) &diagTxSize, sizeof(diagTxSize), portMAX_DELAY );
						xBytesSent += xStreamBufferSend(XcpTxDataStreamBufferHandle, (void *) diagTxbuf, diagTxSize, portMAX_DELAY );
						if( xBytesSent != (diagTxSize + sizeof(diagTxSize) )) Error_Handler();
						xTaskNotifyGive(RAMN_DiagTXHandle);
					}
				}
			}
		}
#endif
		ulTaskNotifyTake(pdFALSE, portMAX_DELAY);
	}
#endif
  /* USER CODE END RAMN_DiagRXFunc */
}

void RAMN_DiagTXFunc(void *argument)
{
  /* USER CODE BEGIN RAMN_DiagTXFunc */
	/* Infinite loop */
#if !defined(ENABLE_DIAG)
	vTaskDelete(NULL);
#else
	uint16_t index = 0U;
	for(;;)
	{

#if defined(ENABLE_UDS)
		if (xStreamBufferBytesAvailable(UdsTxDataStreamBufferHandle) >= sizeof(RAMN_UDS_ISOTPHandler.txSize))
		{
			if (xStreamBufferReceive(UdsTxDataStreamBufferHandle, (void *)&(RAMN_UDS_ISOTPHandler.txSize),sizeof(RAMN_UDS_ISOTPHandler.txSize), portMAX_DELAY) == sizeof(RAMN_UDS_ISOTPHandler.txSize))
			{
				if (RAMN_UDS_ISOTPHandler.txSize <= 0xFFF) //TODO: empty buffer securely if overflow
				{
					index = 0U;
					while (index != RAMN_UDS_ISOTPHandler.txSize)
					{
						index += xStreamBufferReceive(UdsTxDataStreamBufferHandle, (void *)(RAMN_UDS_ISOTPHandler.txData+index),RAMN_UDS_ISOTPHandler.txSize-index, portMAX_DELAY);
					}

					if (RAMN_ISOTP_RequestTx(&RAMN_UDS_ISOTPHandler, xTaskGetTickCount()) == RAMN_OK)
					{
						while (RAMN_UDS_Continue_TX(xTaskGetTickCount()) != True)
						{
							osDelay(RAMN_DBC_RequestSilence ? RAMN_UDS_ISOTPHandler.targetST : SIM_LOOP_CLOCK_MS);
						}
					}

				}
			}
		}
#endif

#if defined(ENABLE_KWP)
		if (xStreamBufferBytesAvailable(KwpTxDataStreamBufferHandle) >= sizeof(RAMN_KWP_ISOTPHandler.txSize))
		{
			if (xStreamBufferReceive(KwpTxDataStreamBufferHandle, (void *)&(RAMN_KWP_ISOTPHandler.txSize),sizeof(RAMN_KWP_ISOTPHandler.txSize), portMAX_DELAY) == sizeof(RAMN_KWP_ISOTPHandler.txSize))
			{
				if (RAMN_KWP_ISOTPHandler.txSize <= 0xFFF) //TODO: empty buffer securely if overflow
				{
					index = 0U;
					while (index != RAMN_KWP_ISOTPHandler.txSize)
					{
						index += xStreamBufferReceive(KwpTxDataStreamBufferHandle, (void *)(RAMN_KWP_ISOTPHandler.txData+index),RAMN_KWP_ISOTPHandler.txSize-index, portMAX_DELAY);
					}

					if (RAMN_ISOTP_RequestTx(&RAMN_KWP_ISOTPHandler, xTaskGetTickCount()) == RAMN_OK)
					{
						while (RAMN_KWP_Continue_TX(xTaskGetTickCount()) != True)
						{
							osDelay(RAMN_DBC_RequestSilence ? RAMN_KWP_ISOTPHandler.targetST : SIM_LOOP_CLOCK_MS);
						}
					}

				}
			}
		}
#endif

#if defined(ENABLE_XCP)
		uint16_t diagTxSize;
		uint8_t  XCP_payload[8];
		if (xStreamBufferBytesAvailable(XcpTxDataStreamBufferHandle) >= sizeof(diagTxSize))
		{
			if (xStreamBufferReceive(XcpTxDataStreamBufferHandle, (void *)&(diagTxSize),sizeof(diagTxSize), portMAX_DELAY) == sizeof(diagTxSize))
			{
				if (diagTxSize <= 0x8) //TODO: empty buffer securely if overflow
				{
					index = 0U;
					while (index != diagTxSize)
					{
						index += xStreamBufferReceive(XcpTxDataStreamBufferHandle, (void *)(XCP_payload+index),diagTxSize-index, portMAX_DELAY);
					}

					while (RAMN_XCP_Continue_TX(xTaskGetTickCount(),XCP_payload,diagTxSize) != True)
					{
						osDelay(SIM_LOOP_CLOCK_MS);
					}
				}

			}

		}
#endif
		ulTaskNotifyTake(pdFALSE, portMAX_DELAY);
	}
#endif
  /* USER CODE END RAMN_DiagTXFunc */
}

void HAL_TIM_PeriodElapsedCallback(TIM_HandleTypeDef *htim)
{
  if (htim->Instance == TIM1) {
    HAL_IncTick();
  }
}

void Error_Handler(void)
{
	__disable_irq();
	while (1)
	{
	}
}

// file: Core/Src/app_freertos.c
/* USER CODE BEGIN Header */
/**
  ******************************************************************************
  * File Name          : app_freertos.c
  * Description        : Code for freertos applications
  ******************************************************************************
  * @attention
  *
  * <h2><center>&copy; Copyright (c) 2021 STMicroelectronics.
  * All rights reserved.</center></h2>
  *
  * This software component is licensed by ST under Ultimate Liberty license
  * SLA0044, the "License"; You may not use this file except in compliance with
  * the License. You may obtain a copy of the License at:
  *                             www.st.com/SLA0044
  *
  ******************************************************************************
  */
/* USER CODE END Header */

#include "FreeRTOS.h"
#include "task.h"
#include "main.h"

/* Hook prototypes */
void vApplicationStackOverflowHook(xTaskHandle xTask, signed char *pcTaskName);

/* USER CODE BEGIN 4 */
void vApplicationStackOverflowHook(xTaskHandle xTask, signed char *pcTaskName)
{
   /* Run time stack overflow checking is performed if
   configCHECK_FOR_STACK_OVERFLOW is defined to 1 or 2. This hook function is
   called if a stack overflow is detected. */
}
/* USER CODE END 4 */
